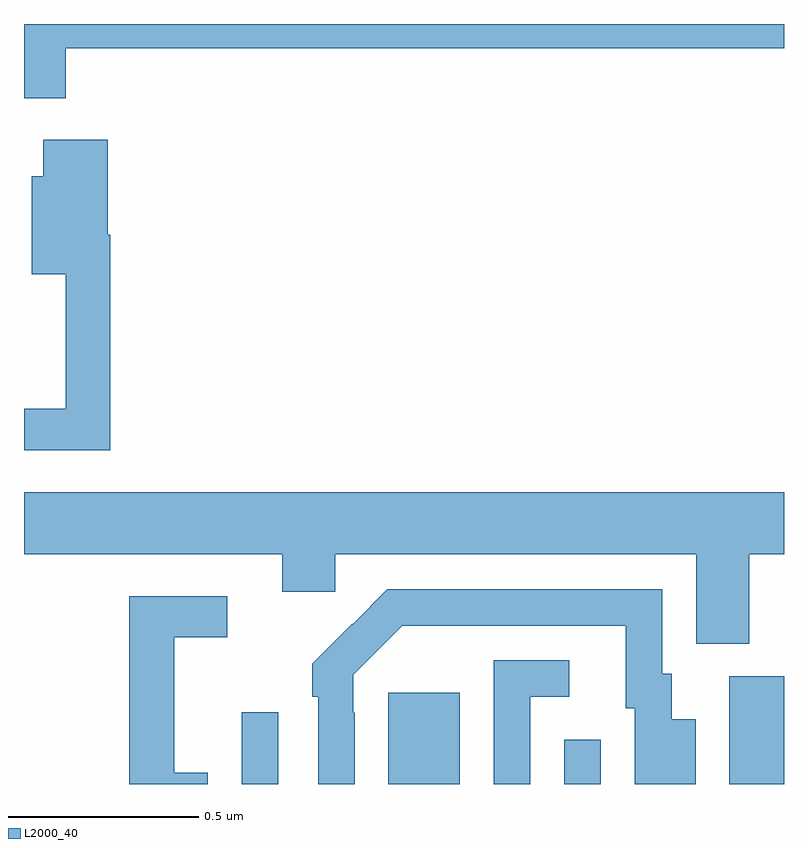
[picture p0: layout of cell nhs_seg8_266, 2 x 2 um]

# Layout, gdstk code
import gdstk
lib = gdstk.Library(unit=1e-6, precision=1e-09)
def R(c, l, rs):  # rectangles x0, y0, x1, y1
    for r in rs: c.add(gdstk.rectangle(r[:2], r[2:], *l))
def P(c, l, *ps):  # polygons
    for p in ps: c.add(gdstk.Polygon(p, *l))
L2000_40 = (2000, 40)

nhs_seg8_266 = lib.new_cell('nhs_seg8_266')
R(nhs_seg8_266, L2000_40, [(114.573,1111.9,114.669,1112.089), (114.959,1111.9,115.147,1112.14), (115.422,1111.9,115.518,1112.017), (115.856,1111.9,116,1112.184)])
P(nhs_seg8_266, L2000_40, [(114.11,1113.836),(116,1113.836),(116,1113.9),(114,1113.9),(114,1113.705),(114.11,1113.705)],
  [(114.227,1113.346),(114.221,1113.346),(114.221,1113.595),(114.05,1113.595),(114.05,1113.499),(114.02,1113.499),(114.02,1113.242),(114.11,1113.242),(114.11,1112.887),(114,1112.887),(114,1112.778),(114.227,1112.778)],
  [(115.909,1112.504),(116,1112.504),(116,1112.668),(114,1112.668),(114,1112.504),(114.68,1112.504),(114.68,1112.406),(114.819,1112.406),(114.819,1112.504),(115.769,1112.504),(115.769,1112.269),(115.909,1112.269)],
  [(114.87,1112.087),(114.867,1112.087),(114.867,1112.187),(114.996,1112.316),(115.583,1112.316),(115.583,1112.1),(115.607,1112.1),(115.607,1111.9),(115.768,1111.9),(115.768,1112.071),(115.705,1112.071),(115.705,1112.19),(115.68,1112.19),(115.68,1112.412),(114.956,1112.412),(114.865,1112.321),(114.864,1112.322),(114.759,1112.217),(114.759,1112.129),(114.774,1112.129),(114.774,1111.9),(114.87,1111.9)],
  [(114.484,1111.93),(114.395,1111.93),(114.395,1112.286),(114.535,1112.286),(114.535,1112.394),(114.277,1112.394),(114.277,1111.9),(114.484,1111.9)],
  [(115.332,1112.13),(115.435,1112.13),(115.435,1112.226),(115.236,1112.226),(115.236,1111.9),(115.332,1111.9)])

lib.write_gds('nhs_seg8_266.gds')
